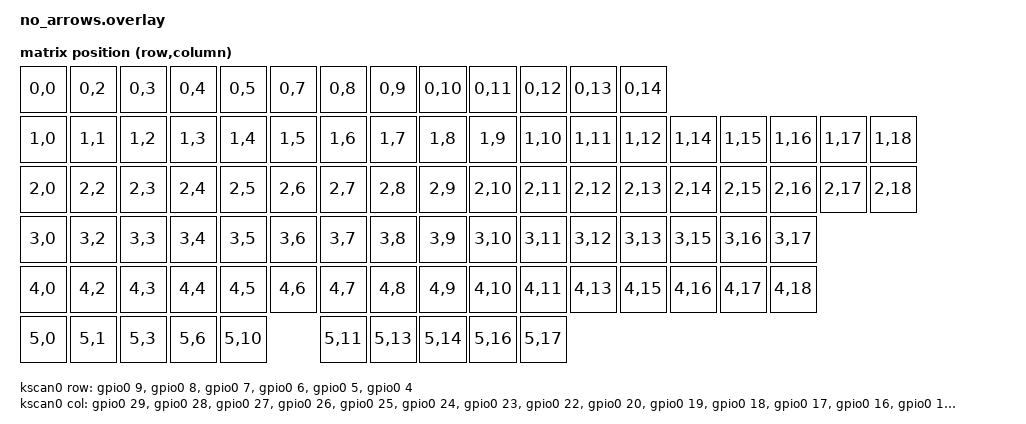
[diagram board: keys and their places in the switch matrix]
/*
 * Copyright (c) 2024 J. Westley
 *
 * SPDX-License-Identifier: MIT
 */

 #include <dt-bindings/zmk/matrix_transform.h>

/ {
    chosen {
        zmk,kscan = &kscan0;
        zmk,underglow = &led_strip;
    };

    kscan0: kscan {
        compatible = "zmk,kscan-gpio-matrix";
	diode-direction = "col2row";
        wakeup-source;

        col-gpios
            = <&gpio0 29 GPIO_ACTIVE_HIGH>
            , <&gpio0 28 GPIO_ACTIVE_HIGH>
            , <&gpio0 27 GPIO_ACTIVE_HIGH>
            , <&gpio0 26 GPIO_ACTIVE_HIGH>
            , <&gpio0 25 GPIO_ACTIVE_HIGH>
            , <&gpio0 24 GPIO_ACTIVE_HIGH>
            , <&gpio0 23 GPIO_ACTIVE_HIGH>
            , <&gpio0 22 GPIO_ACTIVE_HIGH>
            , <&gpio0 20 GPIO_ACTIVE_HIGH>
            , <&gpio0 19 GPIO_ACTIVE_HIGH>
            , <&gpio0 18 GPIO_ACTIVE_HIGH>
            , <&gpio0 17 GPIO_ACTIVE_HIGH>
            , <&gpio0 16 GPIO_ACTIVE_HIGH>
            , <&gpio0 15 GPIO_ACTIVE_HIGH>
            , <&gpio0 14 GPIO_ACTIVE_HIGH>
            , <&gpio0 13 GPIO_ACTIVE_HIGH>
            , <&gpio0 12 GPIO_ACTIVE_HIGH>
            , <&gpio0 11 GPIO_ACTIVE_HIGH>
            , <&gpio0 10 GPIO_ACTIVE_HIGH>
            ;

        row-gpios
            = <&gpio0 9 (GPIO_ACTIVE_HIGH | GPIO_PULL_DOWN)>
            , <&gpio0 8 (GPIO_ACTIVE_HIGH | GPIO_PULL_DOWN)>
            , <&gpio0 7 (GPIO_ACTIVE_HIGH | GPIO_PULL_DOWN)>
            , <&gpio0 6 (GPIO_ACTIVE_HIGH | GPIO_PULL_DOWN)>
            , <&gpio0 5 (GPIO_ACTIVE_HIGH | GPIO_PULL_DOWN)>
            , <&gpio0 4 (GPIO_ACTIVE_HIGH | GPIO_PULL_DOWN)>
            ;

    };

};
/ {
    default_transform: keymap_transform0 {
        compatible = "zmk,matrix-transform";
        columns = <19>; // Length of the "col-gpios" array
        rows = <6>; // Length of the "row-gpios" array

        // --------------------------------------------------------------------------------------------------------------
        // | ESC | F1 | F2 | F3 | F4 | F5 | F6 | F7 | F8 | F9 | F10 | F11 | F12                                          |
        // | ` |  1  |  2  |  3  |  4  |  5  |  6  |  7  |  8  |  9  |  0  |  -  |  =  |   BSPC | NUM | / | * |-         |
        // | TAB  |  Q  |  W  |  E  |  R  |  T  |  Y  |  U  |  I  |  O  |  P  |  [  |  ]  |   \ |  7  | 8 | 9 | +        |
        // | CAPS  |  A  |  S  |  D  |  F  |  G  |  H  |  J  |  K  |  L  |  ;  |  '  |     ENTER|  4  | 5 | 6 |          |
        // |  SHIFT  |  Z  |  X  |  C  |  V  |  B  |  N  |  M  |  ,  |  .  |  /  |      SHIFT   |  1  | 2 | 3 | ENTER    |
        // |  CTL  |  CMD  |  ALT  |            SPACE               | ALT | CMD |  FN  | CTRL|     0   | . |          |
        // ---------------------------------------------------------------------------------------------------------------

        map = <
        RC(0,0)	RC(0,2)	RC(0,3)	RC(0,4)	RC(0,5)	RC(0,7)	RC(0,8)	RC(0,9)	RC(0,10) RC(0,11) RC(0,12) RC(0,13) RC(0,14)
        RC(1,0)	RC(1,1)	RC(1,2)	RC(1,3)	RC(1,4)	RC(1,5)	RC(1,6)	RC(1,7)	RC(1,8)	RC(1,9) RC(1,10) RC(1,11) RC(1,12) RC(1,14) RC(1,15) RC(1,16) RC(1,17) RC(1,18)
        RC(2,0)	RC(2,2)	RC(2,3)	RC(2,4)	RC(2,5)	RC(2,6)	RC(2,7)	RC(2,8)	RC(2,9)	RC(2,10) RC(2,11) RC(2,12) RC(2,13) RC(2,14) RC(2,15) RC(2,16) RC(2,17) RC(2,18)
        RC(3,0)	RC(3,2)	RC(3,3)	RC(3,4)	RC(3,5)	RC(3,6)	RC(3,7)	RC(3,8)	RC(3,9)	RC(3,10) RC(3,11) RC(3,12) RC(3,13)	RC(3,15) RC(3,16) RC(3,17)
        RC(4,0) RC(4,2)	RC(4,3)	RC(4,4)	RC(4,5)	RC(4,6)	RC(4,7)	RC(4,8)	RC(4,9)	RC(4,10) RC(4,11) RC(4,13) RC(4,15) RC(4,16) RC(4,17) RC(4,18)
        RC(5,0)	RC(5,1)	RC(5,3)	RC(5,6)	RC(5,10) RC(5,11) RC(5,13) RC(5,14) RC(5,16) RC(5,17)
        >;
    };
};


/ {
    default_layout: default_layout {
        compatible = "zmk,physical-layout";
        display-name = "Default Layout";
        transform = <&default_transform>;
        kscan = <&kscan0>;
    };
};
